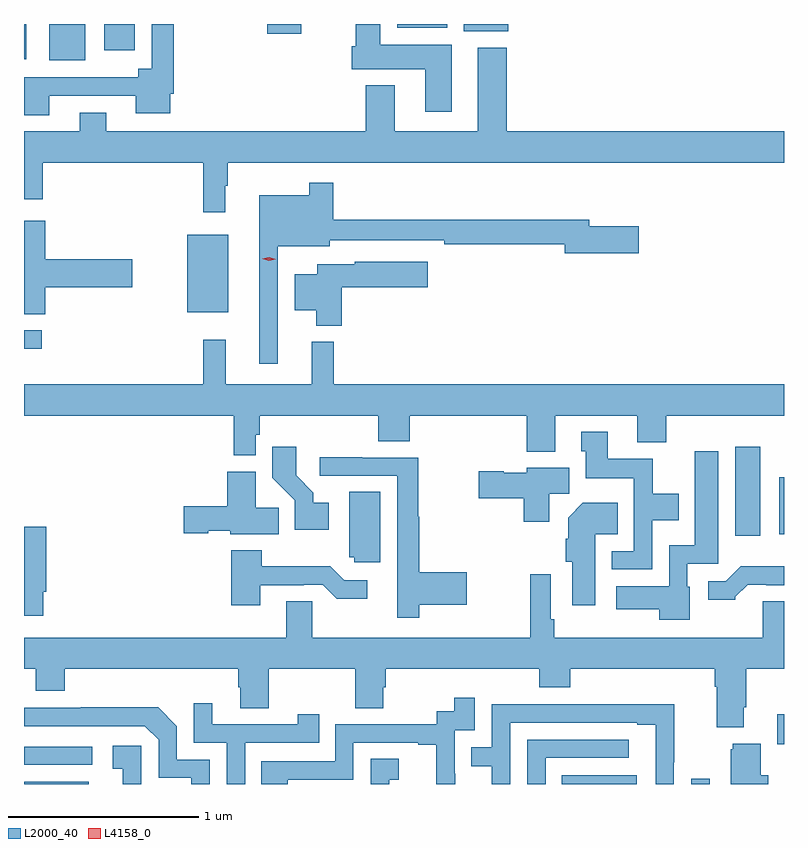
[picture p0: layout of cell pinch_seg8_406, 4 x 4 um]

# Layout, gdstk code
import gdstk
lib = gdstk.Library(unit=1e-6, precision=1e-09)
def R(c, l, rs):  # rectangles x0, y0, x1, y1
    for r in rs: c.add(gdstk.rectangle(r[:2], r[2:], *l))
def P(c, l, *ps):  # polygons
    for p in ps: c.add(gdstk.Polygon(p, *l))
L2000_40 = (2000, 40)
L4158_0 = (4158, 0)

pinch_seg8_406 = lib.new_cell('pinch_seg8_406')
R(pinch_seg8_406, L2000_40, [(538.122,1118.557,538.462,1118.569), (540.952,1118.557,541.348,1118.602), (541.635,1118.557,541.731,1118.584), (538.122,1118.658,538.48,1118.754), (542.087,1118.767,542.122,1118.923), (541.865,1119.864,541.996,1120.333), (542.096,1119.872,542.122,1120.171), (538.122,1120.848,538.216,1120.944), (538.982,1121.039,539.197,1121.449), (538.256,1122.365,538.444,1122.557), (538.122,1122.371,538.135,1122.557), (538.544,1122.42,538.705,1122.557), (539.402,1122.507,539.58,1122.557), (540.437,1122.518,540.67,1122.557), (540.086,1122.536,540.349,1122.557)])
P(pinch_seg8_406, L2000_40, [(538.255,1122.18),(538.709,1122.18),(538.709,1122.086),(538.891,1122.086),(538.891,1122.19),(538.91,1122.19),(538.91,1122.557),(538.794,1122.557),(538.794,1122.322),(538.724,1122.322),(538.724,1122.276),(538.122,1122.276),(538.122,1122.078),(538.255,1122.078)],
  [(540.373,1122.448),(539.998,1122.448),(539.998,1122.557),(539.869,1122.557),(539.869,1122.441),(539.846,1122.441),(539.846,1122.32),(540.233,1122.32),(540.233,1122.096),(540.373,1122.096)],
  [(539.182,1121.705),(539.194,1121.705),(539.194,1121.828),(542.122,1121.828),(542.122,1121.992),(540.662,1121.992),(540.662,1122.433),(540.509,1122.433),(540.509,1121.992),(540.073,1121.992),(540.073,1122.235),(539.921,1122.235),(539.921,1121.992),(538.555,1121.992),(538.555,1122.091),(538.415,1122.091),(538.415,1121.992),(538.122,1121.992),(538.122,1121.634),(538.22,1121.634),(538.22,1121.828),(539.065,1121.828),(539.065,1121.565),(539.182,1121.565)],
  [(539.457,1121.387),(539.731,1121.387),(539.731,1121.418),(540.334,1121.418),(540.334,1121.398),(540.968,1121.398),(540.968,1121.351),(541.357,1121.351),(541.357,1121.493),(541.096,1121.493),(541.096,1121.527),(539.75,1121.527),(539.75,1121.722),(539.622,1121.722),(539.622,1121.656),(539.36,1121.656),(539.36,1120.77),(539.457,1120.77)],
  [(538.235,1121.171),(538.693,1121.171),(538.693,1121.318),(538.235,1121.318),(538.235,1121.521),(538.122,1121.521),(538.122,1121.029),(538.235,1121.029)],
  [(539.795,1121.171),(540.247,1121.171),(540.247,1121.305),(539.862,1121.305),(539.862,1121.293),(539.666,1121.293),(539.666,1121.239),(539.546,1121.239),(539.546,1121.051),(539.66,1121.051),(539.66,1120.97),(539.795,1120.97)],
  [(539.343,1120.395),(539.363,1120.395),(539.363,1120.496),(539.987,1120.496),(539.987,1120.36),(540.152,1120.36),(540.152,1120.496),(540.767,1120.496),(540.767,1120.307),(540.919,1120.307),(540.919,1120.496),(541.349,1120.496),(541.349,1120.355),(541.502,1120.355),(541.502,1120.496),(542.122,1120.496),(542.122,1120.66),(539.753,1120.66),(539.753,1120.885),(539.636,1120.885),(539.636,1120.66),(539.183,1120.66),(539.183,1120.894),(539.065,1120.894),(539.065,1120.66),(538.122,1120.66),(538.122,1120.496),(539.227,1120.496),(539.227,1120.286),(539.343,1120.286)],
  [(541.428,1119.944),(541.567,1119.944),(541.567,1120.084),(541.431,1120.084),(541.431,1120.27),(541.195,1120.27),(541.195,1120.411),(541.055,1120.411),(541.055,1120.308),(541.079,1120.308),(541.079,1120.166),(541.332,1120.166),(541.332,1119.783),(541.215,1119.783),(541.215,1119.687),(541.428,1119.687)],
  [(539.725,1120.036),(539.644,1120.036),(539.644,1120.091),(539.554,1120.181),(539.554,1120.333),(539.428,1120.333),(539.428,1120.17),(539.547,1120.051),(539.547,1119.896),(539.725,1119.896)],
  [(541.627,1119.594),(541.614,1119.594),(541.614,1119.717),(541.777,1119.717),(541.777,1120.309),(541.652,1120.309),(541.652,1119.814),(541.518,1119.814),(541.518,1119.598),(541.239,1119.598),(541.239,1119.476),(541.466,1119.476),(541.466,1119.422),(541.627,1119.422)],
  [(540.203,1119.5),(540.451,1119.5),(540.451,1119.671),(540.203,1119.671),(540.203,1119.963),(540.196,1119.963),(540.196,1120.275),(539.903,1120.275),(539.903,1120.278),(539.679,1120.278),(539.679,1120.179),(540.087,1120.179),(540.087,1119.654),(540.086,1119.654),(540.086,1119.432),(540.203,1119.432)],
  [(540.886,1120.084),(540.991,1120.084),(540.991,1120.222),(540.768,1120.222),(540.768,1120.195),(540.648,1120.195),(540.648,1120.203),(540.516,1120.203),(540.516,1120.061),(540.752,1120.061),(540.752,1119.936),(540.886,1119.936)],
  [(539.462,1120.01),(539.341,1120.01),(539.341,1120.201),(539.192,1120.201),(539.192,1120.02),(538.962,1120.02),(538.962,1119.878),(539.091,1119.878),(539.091,1119.89),(539.208,1119.89),(539.208,1119.872),(539.462,1119.872)],
  [(539.998,1120.094),(539.834,1120.094),(539.834,1119.75),(539.859,1119.75),(539.859,1119.723),(539.998,1119.723)],
  [(541.129,1119.872),(541.247,1119.872),(541.247,1120.036),(541.064,1120.036),(540.986,1119.958),(540.986,1119.848),(540.974,1119.848),(540.974,1119.726),(541.007,1119.726),(541.007,1119.498),(541.129,1119.498)],
  [(538.222,1119.57),(538.24,1119.57),(538.24,1119.91),(538.122,1119.91),(538.122,1119.443),(538.222,1119.443)],
  [(539.365,1119.603),(539.594,1119.603),(539.594,1119.606),(539.694,1119.606),(539.767,1119.533),(539.929,1119.533),(539.929,1119.63),(539.808,1119.63),(539.735,1119.703),(539.373,1119.703),(539.373,1119.787),(539.213,1119.787),(539.213,1119.498),(539.365,1119.498)],
  [(541.866,1119.542),(541.93,1119.606),(542.029,1119.606),(542.029,1119.603),(542.122,1119.603),(542.122,1119.703),(541.894,1119.703),(541.815,1119.624),(541.722,1119.624),(541.722,1119.527),(541.866,1119.527)],
  [(541.909,1118.962),(541.922,1118.962),(541.922,1119.164),(542.122,1119.164),(542.122,1119.518),(542.009,1119.518),(542.009,1119.328),(540.914,1119.328),(540.914,1119.424),(540.894,1119.424),(540.894,1119.661),(540.786,1119.661),(540.786,1119.328),(539.64,1119.328),(539.64,1119.518),(539.501,1119.518),(539.501,1119.328),(538.122,1119.328),(538.122,1119.164),(538.184,1119.164),(538.184,1119.047),(538.337,1119.047),(538.337,1119.164),(539.249,1119.164),(539.249,1119.066),(539.261,1119.066),(539.261,1118.956),(539.409,1118.956),(539.409,1119.164),(539.866,1119.164),(539.866,1118.956),(540.013,1118.956),(540.013,1119.066),(540.026,1119.066),(540.026,1119.164),(540.833,1119.164),(540.833,1119.065),(540.998,1119.065),(540.998,1119.164),(541.757,1119.164),(541.757,1119.068),(541.769,1119.068),(541.769,1118.855),(541.909,1118.855)],
  [(539.511,1118.58),(539.856,1118.58),(539.856,1118.775),(540.197,1118.775),(540.197,1118.763),(540.293,1118.763),(540.293,1118.557),(540.392,1118.557),(540.392,1118.612),(540.39,1118.612),(540.39,1118.841),(540.495,1118.841),(540.495,1119.01),(540.387,1119.01),(540.387,1118.94),(540.294,1118.94),(540.294,1118.871),(539.76,1118.871),(539.76,1118.676),(539.371,1118.676),(539.371,1118.557),(539.511,1118.557)],
  [(539.286,1118.775),(539.675,1118.775),(539.675,1118.923),(539.564,1118.923),(539.564,1118.871),(539.113,1118.871),(539.113,1118.983),(539.016,1118.983),(539.016,1118.775),(539.19,1118.775),(539.19,1118.557),(539.286,1118.557)],
  [(540.681,1118.88),(541.349,1118.88),(541.349,1118.868),(541.446,1118.868),(541.446,1118.557),(541.542,1118.557),(541.542,1118.671),(541.545,1118.671),(541.545,1118.978),(541.081,1118.978),(541.081,1118.976),(540.585,1118.976),(540.585,1118.751),(540.475,1118.751),(540.475,1118.65),(540.585,1118.65),(540.585,1118.557),(540.681,1118.557)],
  [(539.1,1118.685),(538.926,1118.685),(538.926,1118.862),(538.828,1118.96),(538.42,1118.96),(538.42,1118.958),(538.122,1118.958),(538.122,1118.862),(538.758,1118.862),(538.83,1118.79),(538.83,1118.589),(539.003,1118.589),(539.003,1118.557),(539.1,1118.557)],
  [(540.867,1118.694),(541.306,1118.694),(541.306,1118.79),(540.771,1118.79),(540.771,1118.557),(540.867,1118.557)],
  [(542.038,1118.602),(541.999,1118.602),(541.999,1118.77),(541.853,1118.77),(541.853,1118.739),(541.841,1118.739),(541.841,1118.557),(542.038,1118.557)],
  [(538.74,1118.758),(538.59,1118.758),(538.59,1118.637),(538.643,1118.637),(538.643,1118.557),(538.74,1118.557)],
  [(540.045,1118.579),(540.094,1118.579),(540.094,1118.689),(539.946,1118.689),(539.946,1118.557),(540.045,1118.557)])
P(pinch_seg8_406, L4158_0, [(539.41,1121.31),(539.375,1121.322),(539.375,1121.322),(539.375,1121.322),(539.412,1121.33),(539.447,1121.319),(539.447,1121.318),(539.447,1121.318)])

lib.write_gds('pinch_seg8_406.gds')
